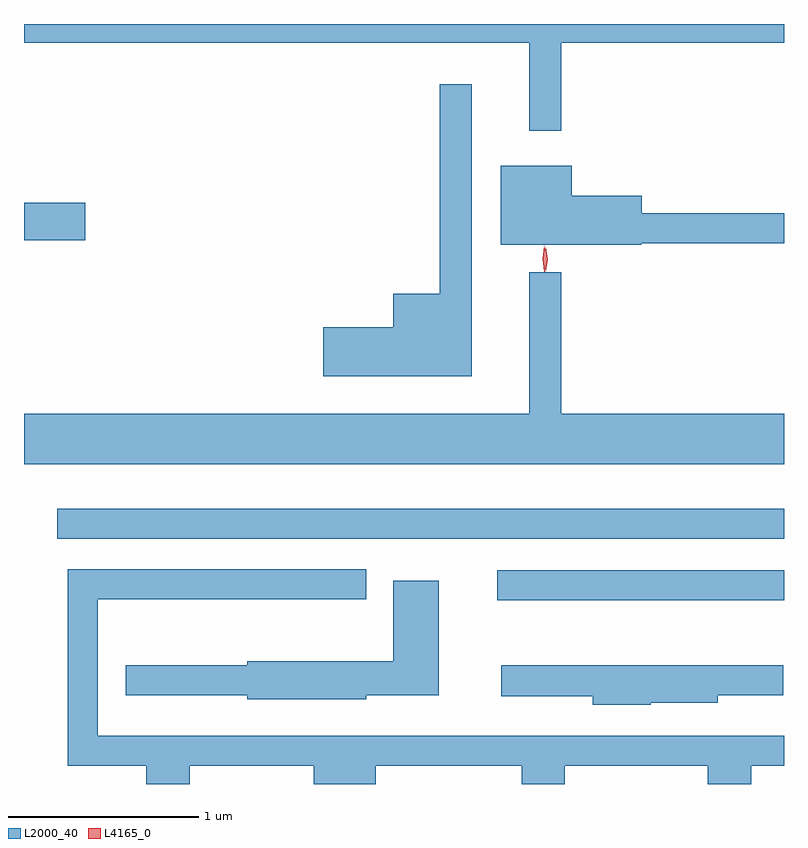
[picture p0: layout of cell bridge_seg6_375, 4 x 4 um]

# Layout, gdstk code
import gdstk
lib = gdstk.Library(unit=1e-6, precision=1e-09)
def R(c, l, rs):  # rectangles x0, y0, x1, y1
    for r in rs: c.add(gdstk.rectangle(r[:2], r[2:], *l))
def P(c, l, *ps):  # polygons
    for p in ps: c.add(gdstk.Polygon(p, *l))
L2000_40 = (2000, 40)
L4165_0 = (4165, 0)

bridge_seg6_375 = lib.new_cell('bridge_seg6_375')
R(bridge_seg6_375, L2000_40, [(983.963,1615.921,985.472,1616.079), (981.648,1616.246,985.472,1616.404), (981.472,1617.816,981.794,1618.014)])
P(bridge_seg6_375, L2000_40, [(984.299,1618.856),(985.472,1618.856),(985.472,1618.954),(981.472,1618.954),(981.472,1618.856),(984.131,1618.856),(984.131,1618.393),(984.299,1618.393)],
  [(983.829,1618.638),(983.661,1618.638),(983.661,1617.534),(983.416,1617.534),(983.416,1617.359),(983.046,1617.359),(983.046,1617.101),(983.829,1617.101)],
  [(984.72,1617.801),(985.472,1617.801),(985.472,1617.959),(984.724,1617.959),(984.724,1618.049),(984.354,1618.049),(984.354,1618.209),(983.981,1618.209),(983.981,1617.791),(984.72,1617.791)],
  [(985.472,1616.904),(984.299,1616.904),(984.299,1617.648),(984.131,1617.648),(984.131,1616.904),(981.472,1616.904),(981.472,1616.636),(985.472,1616.636)],
  [(982.344,1615.051),(982.996,1615.051),(982.996,1614.954),(983.324,1614.954),(983.324,1615.051),(984.091,1615.051),(984.091,1614.954),(984.319,1614.954),(984.319,1615.051),(985.071,1615.051),(985.071,1614.954),(985.299,1614.954),(985.299,1615.051),(985.472,1615.051),(985.472,1615.209),(981.859,1615.209),(981.859,1615.926),(983.273,1615.926),(983.273,1616.084),(981.701,1616.084),(981.701,1615.051),(982.116,1615.051),(982.116,1614.954),(982.344,1614.954)],
  [(983.274,1615.421),(983.654,1615.421),(983.654,1616.024),(983.416,1616.024),(983.416,1615.599),(982.646,1615.599),(982.646,1615.579),(982.008,1615.579),(982.008,1615.421),(982.646,1615.421),(982.646,1615.401),(983.274,1615.401)],
  [(984.77,1615.381),(985.124,1615.381),(985.124,1615.421),(985.468,1615.421),(985.468,1615.579),(983.983,1615.579),(983.983,1615.416),(984.466,1615.416),(984.466,1615.371),(984.77,1615.371)])
P(bridge_seg6_375, L4165_0, [(984.211,1617.65),(984.211,1617.65),(984.201,1617.718),(984.21,1617.785),(984.211,1617.786),(984.211,1617.785),(984.221,1617.718),(984.212,1617.65)],
  [(984.218,1617.653),(984.218,1617.654),(984.208,1617.716),(984.218,1617.78),(984.218,1617.78),(984.219,1617.78),(984.228,1617.716),(984.219,1617.654)])

lib.write_gds('bridge_seg6_375.gds')
